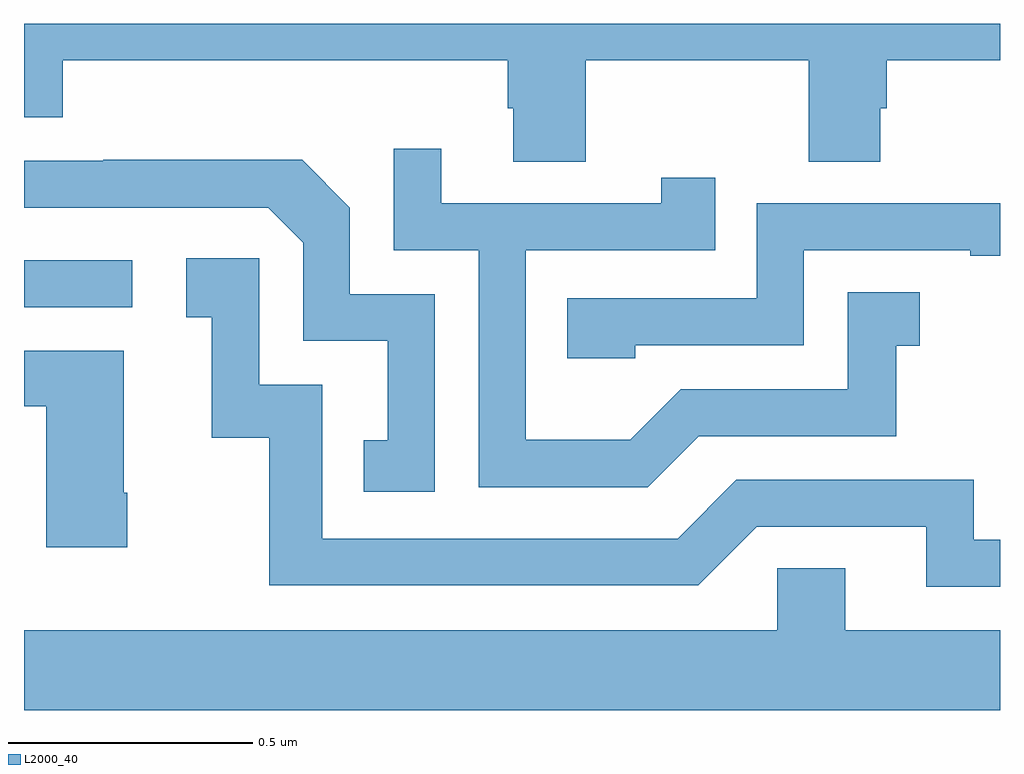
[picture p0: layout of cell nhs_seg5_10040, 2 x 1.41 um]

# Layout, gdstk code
import gdstk
lib = gdstk.Library(unit=1e-6, precision=1e-09)
def R(c, l, rs):  # rectangles x0, y0, x1, y1
    for r in rs: c.add(gdstk.rectangle(r[:2], r[2:], *l))
def P(c, l, *ps):  # polygons
    for p in ps: c.add(gdstk.Polygon(p, *l))
L2000_40 = (2000, 40)

nhs_seg5_10040 = lib.new_cell('nhs_seg5_10040')
R(nhs_seg5_10040, L2000_40, [(241,892.218,241.222,892.314)])
P(nhs_seg5_10040, L2000_40, [(242.151,892.724),(242.608,892.724),(242.608,892.516),(242.755,892.516),(242.755,892.626),(242.768,892.626),(242.768,892.724),(243,892.724),(243,892.799),(241,892.799),(241,892.607),(241.079,892.607),(241.079,892.724),(241.991,892.724),(241.991,892.626),(242.003,892.626),(242.003,892.516),(242.151,892.516)],
  [(242.383,891.954),(242.787,891.954),(242.787,892.139),(242.836,892.139),(242.836,892.249),(242.688,892.249),(242.688,892.05),(242.346,892.05),(242.242,891.946),(242.028,891.946),(242.028,892.335),(242.417,892.335),(242.417,892.483),(242.306,892.483),(242.306,892.431),(241.855,892.431),(241.855,892.543),(241.758,892.543),(241.758,892.335),(241.932,892.335),(241.932,891.849),(242.278,891.849)],
  [(241.842,892.245),(241.668,892.245),(241.668,892.422),(241.57,892.52),(241.162,892.52),(241.162,892.518),(241,892.518),(241,892.422),(241.5,892.422),(241.572,892.35),(241.572,892.149),(241.745,892.149),(241.745,891.945),(241.696,891.945),(241.696,891.84),(241.842,891.84)],
  [(242.253,892.14),(242.598,892.14),(242.598,892.335),(242.939,892.335),(242.939,892.323),(243,892.323),(243,892.431),(242.502,892.431),(242.502,892.236),(242.113,892.236),(242.113,892.113),(242.253,892.113)],
  [(243,891.741),(242.946,891.741),(242.946,891.864),(242.46,891.864),(242.34,891.744),(241.611,891.744),(241.611,892.059),(241.482,892.059),(241.482,892.318),(241.332,892.318),(241.332,892.197),(241.385,892.197),(241.385,891.951),(241.503,891.951),(241.503,891.648),(242.382,891.648),(242.502,891.768),(242.849,891.768),(242.849,891.645),(243,891.645)],
  [(241.212,891.838),(241.204,891.838),(241.204,892.129),(241,892.129),(241,892.015),(241.046,892.015),(241.046,891.726),(241.212,891.726)],
  [(242.544,891.683),(242.544,891.556),(241,891.556),(241,891.392),(243,891.392),(243,891.556),(242.683,891.556),(242.683,891.683)])

lib.write_gds('nhs_seg5_10040.gds')
